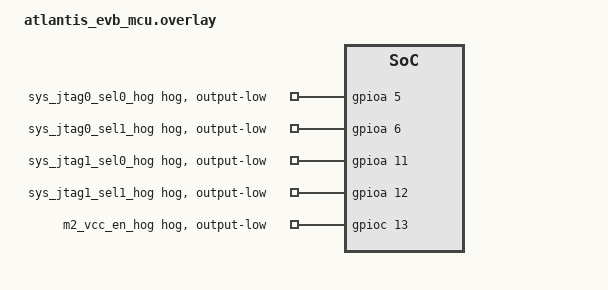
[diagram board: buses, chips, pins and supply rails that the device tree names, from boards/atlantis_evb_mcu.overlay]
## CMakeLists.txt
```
# SPDX-FileCopyrightText: © 2025-2026 Tenstorrent USA, Inc.
# SPDX-License-Identifier: Apache-2.0

list(APPEND BOARD_ROOT ${CMAKE_CURRENT_SOURCE_DIR})

cmake_minimum_required(VERSION 3.20.0)
find_package(Zephyr REQUIRED HINTS $ENV{ZEPHYR_BASE})
project(wallabmc)

# Some boards do not work with mcuboot/sysbuild - QEMU has not been ported.
# Some do not work without it - STM32 based (Nucleo, P550) have constrained
# internal flash layouts that do not fit everything when wallabmc is loaded
# at 0.
set(SYSBUILD_BOARDS "nucleo_f767zi" "nucleo_f756zg" "hifive_premier_p550_mcu" "atlantis_slt_mcu" "atlantis_evb_mcu")
set(NO_SYSBUILD_BOARDS "qemu_cortex_m3")

if(BOARD IN_LIST NO_SYSBUILD_BOARDS)
	if(SYSBUILD)
		message(FATAL_ERROR "${BOARD} must NOT be built with sysbuild (e.g., no --sysbuild argument)")
	endif()
endif()
if(BOARD IN_LIST SYSBUILD_BOARDS)
	if(NOT SYSBUILD)
		message(FATAL_ERROR "${BOARD} must be built with sysbuild (e.g., --sysbuild argument)")
	endif()
endif()


zephyr_linker_sources(SECTIONS sections-rom.ld)
zephyr_linker_section_ifdef(CONFIG_HTTP_SERVER
  NAME http_resource_desc_web_https_service
  KVMA RAM_REGION GROUP RODATA_REGION
)
zephyr_linker_section_ifdef(CONFIG_HTTP_SERVER
  NAME http_resource_desc_web_http_service
  KVMA RAM_REGION GROUP RODATA_REGION
)

# Used for webserver resources
set(gen_dir ${ZEPHYR_BINARY_DIR}/include/generated/)

# Generate git SHA header at build time so it stays current across commits
find_program(BASH_EXECUTABLE bash)
set(git_sha_header ${gen_dir}/git_sha.h)
add_custom_target(app_git_sha ALL
	COMMAND ${CMAKE_COMMAND}
		-DBASH_EXECUTABLE=${BASH_EXECUTABLE}
		-DSOURCE_DIR=${CMAKE_CURRENT_SOURCE_DIR}
		-DOUTPUT_FILE=${git_sha_header}
		-P ${CMAKE_CURRENT_SOURCE_DIR}/cmake/gen_git_sha.cmake
	BYPRODUCTS ${git_sha_header}
	COMMENT "Generating git SHA header"
)
add_dependencies(app app_git_sha)

target_sources(app PRIVATE
	src/config.c
	src/dhcp.c
	src/main.c
	src/net.c
	src/power.c
	src/synch.c
	src/vpd.c
	src/time.c
)

target_sources_ifdef(CONFIG_RTC app PRIVATE
	src/rtc.c
)

target_sources_ifdef(CONFIG_APP_SENSORS app PRIVATE
	src/sensors.c
)

target_sources_ifdef(CONFIG_APP_BLOCKING_WORKQUEUE app PRIVATE
	src/workq.c
)

target_sources_ifdef(CONFIG_APP_NTP app PRIVATE
	src/ntp.c
)

target_sources_ifdef(CONFIG_APP_WIFI app PRIVATE
	src/wifi.c
)

target_sources_ifdef(CONFIG_HTTP_SERVER app PRIVATE
	src/http.c
)

target_sources_ifdef(CONFIG_APP_HTTPS_PUBLIC_KEY app PRIVATE
	src/https_cert.c
)

target_sources_ifdef(CONFIG_MBEDTLS app PRIVATE
	src/crypto_threading.c
)

target_sources_ifdef(CONFIG_APP_WEB app PRIVATE
	src/web.c
)

target_sources_ifdef(CONFIG_JTAG app PRIVATE
	src/jtag.c
)

target_sources_ifdef(CONFIG_APP_CONSOLE_LOGGER app PRIVATE
	src/console_logger.c
)

target_sources_ifdef(CONFIG_CONSOLE_BRIDGE app PRIVATE
	src/console_bridge.c
)

target_sources_ifdef(CONFIG_APP_WEB_TERMINAL_HOST_SERIAL app PRIVATE
	src/console_bridge_ws.c
)

target_sources_ifdef(CONFIG_PERSISTENT_STORAGE app PRIVATE
	src/button.c
	src/fs.c
)

target_sources_ifdef(CONFIG_REDFISH app PRIVATE
	src/redfish.c
)

if(CONFIG_REDFISH)
  foreach(redfish_resource
    redfish_metadata.xml
  )
    generate_inc_file_for_target(app
      static_web_resources/${redfish_resource}
      ${gen_dir}/${redfish_resource}.gz.inc
      --gzip
    )
  endforeach()
endif()

if(CONFIG_APP_WEB)
  foreach(web_resource
    index.html
  )
    generate_inc_file_for_target(app
      static_web_resources/${web_resource}
      ${gen_dir}/${web_resource}.gz.inc
      --gzip
    )
  endforeach()

  foreach(web_resource
    logo.png
    favicon.png
  )
    generate_inc_file_for_target(app
      static_web_resources/${web_resource}
      ${gen_dir}/${web_resource}.inc
    )
  endforeach()
endif()

if(CONFIG_TF_PSA_CRYPTO_USER_CONFIG)
  # The Mbed TLS libraries link zephyr_interface, so this puts
  # CONFIG_TF_PSA_CRYPTO_USER_CONFIG_FILE and threading_alt.h on their
  # include path
  zephyr_include_directories(src/crypto)
endif()

if(CONFIG_PERSISTENT_STORAGE)
  if(CONFIG_CODE_DATA_RELOCATION_SRAM AND CONFIG_SOC_FLASH_STM32)
    include(${ZEPHYR_BASE}/cmake/modules/extensions.cmake)
    FILE(GLOB flash_driver ${ZEPHYR_BASE}/drivers/flash/flash_stm32*.c)
    zephyr_code_relocate(FILES ${flash_driver} LOCATION RAM)
  elseif(CONFIG_SOC_FLASH_ESP32)
    # ESP32 flash driver disables the XIP cache internally; no relocation needed.
  else()
    message(FATAL_ERROR "flash storage handling is not defined for this platform")
  endif()
endif()
```

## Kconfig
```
# SPDX-FileCopyrightText: © 2025-2026 Tenstorrent USA, Inc.
# SPDX-License-Identifier: Apache-2.0

mainmenu "WallaBMC"

# This UUID should not be changed, it is a namespace from which
# to generate other UUIDs for WallaBMC.
config WALLABMC_UUID_NS
	string
	default "6ae4c3c7-fff0-472a-a77c-6f3f5a09ee7c"

config APP_DNS_RESOLVE
	bool
	select REQUIRES_FULL_LIBC
	select NET_SOCKETS_SERVICE
	select DNS_RESOLVER
	select NET_DHCPV4_OPTION_DNS_ADDRESS
	# If DHCP is not enabled, then need these. For now, DNS/NTP
	# requires DHCP. Could make DNS configurable.
	select DNS_SERVER_IP_ADDRESSES
	select DNS_RECONFIGURE_CLEANUP

config DNS_SERVER1
	string
	default "1.1.1.1" if APP_DNS_RESOLVE

config APP_BLOCKING_WORKQUEUE
	bool
	help
	  Workqueue for blocking, low priority work (see src/workq.h). Work
	  that may block for a long time, such as DNS lookups and network
	  requests, runs here rather than on the system workqueue. Selected
	  by its users.

if APP_BLOCKING_WORKQUEUE

config APP_BLOCKING_WORKQUEUE_STACK_SIZE
	int "Blocking workqueue stack size"
	default 2560 if WIFI
	default 2048
	help
	  Without a TX traffic-class thread (NET_TC_TX_COUNT=0) the whole
	  transmit path down into the Ethernet or Wi-Fi driver runs on this
	  stack, so size it for the deepest network send a work item makes.
	  The NTP sync's DNS lookup on STM32 Ethernet measures about 1.2 KB
	  at -Os and 1.4 KB at -O2 (-fstack-usage). The ESP32 Wi-Fi driver
	  sends through a closed blob below what -fstack-usage can see (the
	  Zephyr side alone is 1.6 to 1.8 KB) and the XIAO build has no
	  stack guard, so Wi-Fi builds get 2560 B.

endif

config APP_SUPPORTS_MCUBOOT_UPDATE
	bool "Board supports mcuboot and DFU updates"
	help
	  Board .conf files can select this if they support mcuboot and
	  OTA wallabmc firmware updates (DFU).

config APP_MCUBOOT_UPDATE
	bool "Support mcuboot flash updates"
	default y
	depends on BOOTLOADER_MCUBOOT
	depends on APP_SUPPORTS_MCUBOOT_UPDATE
	depends on !MCUBOOT_BOOTLOADER_MODE_SINGLE_APP
	depends on REDFISH
	select APP_HTTP_BULK_UPLOAD
	select FLASH
	select IMG_MANAGER
	select FLASH_MAP
	select STREAM_FLASH
	select STREAM_FLASH_ERASE
	select IMG_ERASE_PROGRESSIVELY

config APP_NTP
	bool "NTP time synchronisation"
	select SNTP
	select APP_DNS_RESOLVE
	select APP_BLOCKING_WORKQUEUE
	# Could these options reduce our code?
	#CONFIG_NET_CONFIG_CLOCK_SNTP_INIT=y
	#CONFIG_NET_CONFIG_CLOCK_SNTP_SET_RTC=y
	default y

config MAIN_STACK_SIZE
	int
	default 4096 if PERSISTENT_STORAGE

config APP_CRYPTO
	bool
	select NET_SOCKETS_SOCKOPT_TLS
	select MBEDTLS
	select MBEDTLS_ENABLE_HEAP
	select MBEDTLS_SSL_PROTO_TLS1_2
	select MBEDTLS_SSL_ALPN
	# Curve-specific P-256 reduction, much faster TLS handshakes.
	select MBEDTLS_ECP_NIST_OPTIM if PSA_WANT_KEY_TYPE_ECC_KEY_PAIR_BASIC
	# XXX: Should HAVE_TIME_DATE be enabled? Test if it prevents HTTPS
	# connections if the RTC is wrong, in which case it might not be
	# feasible if we need webui to set time.
	# select MBEDTLS_HAVE_TIME_DATE if RTC

config APP_CRYPTO_TLS13
	bool
	default y
	depends on APP_CRYPTO && !APP_CRYPTO_PSK
	select MBEDTLS_SSL_PROTO_TLS1_3
	select MBEDTLS_SSL_TLS1_3_KEY_EXCHANGE_MODE_EPHEMERAL_ENABLED
	select PSA_WANT_ALG_HKDF

config APP_CRYPTO_PUBLIC_KEY
	bool
	# Basic ciphers
	select MBEDTLS_CIPHERSUITE_TLS_ECDHE_ECDSA_WITH_AES_128_GCM_SHA256
	select PSA_WANT_ALG_SHA_256
	# X25519 key exchange alongside P-256 (the certificate stays P-256).
	# Clients such as OpenSSL send only an X25519 key share by default,
	# so without it every TLS 1.3 handshake needs a HelloRetryRequest.
	select PSA_WANT_ECC_MONTGOMERY_255
	# Plus SHA384
	select PSA_WANT_ALG_SHA_384
	# Plus CHACHA20
	select PSA_WANT_ALG_CHACHA20_POLY1305
	select PSA_WANT_KEY_TYPE_CHACHA20

# TF-PSA-Crypto options that Zephyr has no Kconfig for: mbedTLS thread
# safety (see src/crypto_threading.c), needed whenever mbedTLS is used,
# and the optimised routine for X25519 shared secrets, which Zephyr 4.5
# builds and links but has no option to turn on. The header is in
# src/crypto, added to the include path in CMakeLists.txt.
config TF_PSA_CRYPTO_USER_CONFIG_FILE
	default "tf-psa-crypto-user-config.h" if MBEDTLS

# PSK can only use TLS1.2 (supporting 1.3 seems to require pulling in
# so much that it is not worthwhile).
config APP_CRYPTO_PSK
	bool
	select MBEDTLS_KEY_EXCHANGE_PSK_ENABLED # TLS1.2
	select MBEDTLS_CIPHERSUITE_TLS_PSK_WITH_AES_128_GCM_SHA256

config APP_CRYPTO_DEBUG
	bool "crypto debug"
	default n
	select MBEDTLS_DEBUG
	select MBEDTLS_MEMORY_DEBUG

config MBEDTLS_DEBUG_LEVEL
	int
	depends on APP_CRYPTO_DEBUG
	default 1

# Every HTTPS connection parses its own copy of an installed certificate
# chain. With 3 connections at once, the most the BMC served in testing, the
# heap peaks at about 45 KiB with the largest chain that can be installed,
# against 34 KiB with a self-signed certificate. Installing a certificate,
# issuing one and making a CSR also take temporary buffers from it, of up
# to about 4.3 KiB, see src/https_cert.c.
config MBEDTLS_HEAP_SIZE
	int
	depends on APP_CRYPTO
	default 61440 if APP_HTTP_BULK_UPLOAD
	default 57344 if APP_HTTPS_PUBLIC_KEY
	default 49152

config NET_PKT_RX_COUNT
	int
	depends on APP_CRYPTO
	default 32

config NET_PKT_TX_COUNT
	int
	depends on APP_CRYPTO
	default 32

config NET_BUF_RX_COUNT
	int
	default 96 if APP_CRYPTO
	default 64

config NET_BUF_TX_COUNT
	int
	default 96 if APP_CRYPTO
	default 64

config NET_SOCKETS_TLS_MAX_CONTEXTS
	int
	depends on APP_CRYPTO
	default 6

config APP_HTTP_BULK_UPLOAD
	bool "Support large uploads (e.g., firmware) via HTTP/HTTPS"
	depends on APP_HTTP || APP_HTTPS

# The Kconfig comments for this option say TLS standards require
# 16k size, but this requires several 16K allocations each for
# send and recv on the heap so it's too large. Apparently browsers
# negotiate smaller sizes, so 1500 should be okay there. Redfish
# and curl with auth headers seem to require more (4096 works).
# may require more?
config MBEDTLS_SSL_IN_CONTENT_LEN
	int
	depends on APP_CRYPTO
	default 16384 if APP_HTTP_BULK_UPLOAD
	default 4096

config MBEDTLS_SSL_OUT_CONTENT_LEN
	int
	depends on APP_CRYPTO
	default 4096

config APP_HTTP
	bool "Serve web and redfish over plain HTTP" if APP_HTTPS
	default !APP_HTTPS
	depends on REDFISH || APP_WEB
	help
	  Serve the web UI, Redfish and websocket consoles over plain HTTP
	  on port 80. Credentials (HTTP Basic auth, websocket auth) are sent
	  in the clear over this port.

	  If disabled, port 80 still accepts connections but redirects
	  requests for the web UI and Redfish to the same URL over HTTPS.
	  Websocket consoles aren't available over plain HTTP.

	  Can only be disabled if APP_HTTPS is enabled. Defaults to disabled
	  if APP_HTTPS is enabled, otherwise it's always enabled.

# Room for the captured Authorization, X-Auth-Code, Host headers at
# HTTP_SERVER_MAX_HEADER_LEN. Bulk uploads also have a content-length.
config HTTP_SERVER_CAPTURE_HEADER_BUFFER_SIZE
	int
	default 256 if APP_HTTP_BULK_UPLOAD
	default 192

config HTTP_SERVER_CAPTURE_HEADER_COUNT
	int
	default 4 if APP_HTTP_BULK_UPLOAD
	default 3

# Multiple streams can concurrently access a resource which requires
# special handling we don't do.
config HTTP_SERVER_MAX_STREAMS
	int
	default 1

# Room for the redirect to HTTPS over HTTP/2, with the longest Location.
# Checked by a BUILD_ASSERT in http.c.
config HTTP_SERVER_HTTP2_MAX_HEADER_FRAME_LEN
	int
	default 352 if !APP_HTTP

config APP_HTTPS
	bool "HTTPS support for web and redfish"
	default y
	depends on REDFISH || APP_WEB
	select HTTP_SERVER_TLS_USE_ALPN
	select APP_CRYPTO

config APP_HTTPS_PUBLIC_KEY
	bool "HTTPS public key support"
	default y
	depends on APP_HTTPS
	select APP_CRYPTO_PUBLIC_KEY
	# The key and self-signed certificate are generated on the board
	select MBEDTLS_PK_PARSE_C
	select MBEDTLS_PK_WRITE_C
	select MBEDTLS_X509_CRT_PARSE_C
	select MBEDTLS_X509_CRT_WRITE_C
	# Zephyr only defines MBEDTLS_X509_CREATE_C, which the certificate
	# writer needs, along with the CSR writer. Unused code is discarded
	# at link time.
	select MBEDTLS_X509_CSR_WRITE_C
	# Subject key identifier
	select PSA_WANT_ALG_SHA_1
	# The BMC UUID is in the self-signed certificate's subject, so it must
	# be unique to the board, not the fixed fallback UUID
	select APP_BMC_UUID
	# Installed certificate chains are registered as PEM
	select MBEDTLS_PEM_PARSE_C
	# CAs often have P-384 keys, eg. Let's Encrypt's ECDSA intermediates,
	# so allow them in an installed chain. The BMC's own key is still
	# P-256, which is faster, see docs/https-certificates.md.
	select PSA_WANT_ECC_SECP_R1_384

config APP_HTTPS_PSK
	bool "HTTPS PSK support"
	default n
	depends on APP_HTTPS
	select APP_CRYPTO_PSK

config APP_BMC_UUID
	bool "BMC UUID based on HWINFO device ID"
	select MBEDTLS
	select MBEDTLS_PSA_CRYPTO_C
	select PSA_WANT_ALG_SHA_1
	select UUID
	select UUID_V5
	select HWINFO

config APP_SENSORS
	bool "BMC Sensors (temperature)"
	select SENSOR
	select ADC

config REDFISH
	bool "Redfish server"
	default y
	select HTTP_SERVER
	select HTTP_SERVER_CAPTURE_HEADERS
	select JSON_LIBRARY
	select APP_BMC_UUID
	select BASE64

if REDFISH

config REDFISH_SYSTEM_PRODUCT_NAME
	string "Redfish system product / board display name"
	default "WallaBMC Board"
	help
	  Shown as System Name in Redfish and in the dashboard System Overview.

config REDFISH_SYSTEM_MANUFACTURER
	string "Redfish system manufacturer"
	default "WallaBMC"

config REDFISH_SYSTEM_MODEL
	string "Redfish system model"
	default "Generic"

config REDFISH_SYSTEM_PROCESSOR_MODEL
	string "Redfish processor summary model"
	default "N/A"

config REDFISH_SYSTEM_PROCESSOR_COUNT
	int "Redfish processor summary count"
	default 1

config REDFISH_SYSTEM_MEMORY_GIB
	int "Redfish memory summary total (GiB)"
	default 0
	help
	  Total system memory in GiB for Redfish MemorySummary. 0 shows as N/A.

config HTTP_SERVER_MAX_HEADER_LEN
	int
	default 48 # Basic auth header + 15 character password is 34 characters

endif # REDFISH

config HTTP_SERVER_NUM_SERVICES
	int
	default 2 if APP_HTTPS # default 1 (listen on just 80)

config HTTP_SERVER_MAX_CLIENTS
	int
	default 8 if APP_WEB

# The web UI polls Redfish every 10 s. With the 10 s Zephyr default the
# server drops the idle connection just before each poll, so every poll
# needs a new connection and TLS handshake.
config HTTP_SERVER_CLIENT_INACTIVITY_TIMEOUT
	int
	default 30 if APP_WEB

config APP_WEB
	bool "Web server"
	default y
	select HTTP_SERVER
	select REDFISH

config APP_WEB_TERMINAL
	bool "Websocket consoles and webui terminal emulator"
	default y
	select APP_WEB
	select HTTP_SERVER_WEBSOCKET

config APP_WEB_TERMINAL_BMC_SHELL
	bool "Zephyr shell websocket and webui terminal"
	default y
	depends on APP_WEB_TERMINAL
	select SHELL
	select SHELL_BACKEND_WEBSOCKET
	select LOG_BACKEND_WS
	select LOG_BACKEND_WS_AUTOSTART

config APP_WEB_TERMINAL_HOST_SERIAL
	bool "Host serial websocket and webui terminal"
	default y
	select APP_CONSOLE_LOGGER
	depends on APP_WEB_TERMINAL

if APP_WEB_TERMINAL_HOST_SERIAL
config CONSOLE_BRIDGE_WS_STACK_SIZE
	int
	default 4096 if APP_HTTPS
	default 2048

config CONSOLE_BRIDGE_WS_PRIORITY
	int
	default 5
endif

config SHELL_WEBSOCKET_ENDPOINT_URL
	string
	depends on SHELL_BACKEND_WEBSOCKET
	default "console/bmc"

config DEFAULT_ADMIN_PASSWORD
	string "Default admin password"
	default "$(shell,openssl rand -base64 12 | head -c 15)"

config SYSTEM_WORKQUEUE_STACK_SIZE
	int
	depends on HTTP_SERVER_WEBSOCKET
	default 2560 if APP_HTTPS
	default 1536

# WS log backend uses lot of stack
config LOG_PROCESS_THREAD_STACK_SIZE
	int
	depends on LOG_BACKEND_WS
	default 2560

# > eth_stm32_hal: Failed to obtain RX buffer
# > esp32_wifi: Failed to allocate net buffer
#
# These messages can appear when sending bulk data to wallabmc if the TCP
# window is too large (> 8192). It is possible other configuration parameters
# should be used to avoid the problem, but we limit it here. The XIAO wifi
# board can't even use 8192 and overrides that in its .conf
config NET_TCP_MAX_RECV_WINDOW_SIZE
	int
	default 8192

# Increase retry and timeout limits
config NET_TCP_INIT_RETRANSMISSION_TIMEOUT
	int
	default 500

config NET_TCP_RETRY_COUNT
	int
	default 10

# Reissuing the HTTPS certificate from the shell (eg. "config bmc hostname")
# signs it on the shell thread, which needs about 1.3 KiB more.
config SHELL_STACK_SIZE
	int
	default 3584 if APP_HTTPS_PUBLIC_KEY
	default 3072 if SHELL_BACKEND_WEBSOCKET

config HTTP_SERVER_STACK_SIZE
	int
	depends on LOG_BACKEND_WS
	default 4096

config NET_SOCKETS_SERVICE_STACK_SIZE
	int
	default 3072 if APP_CRYPTO
	default 1536

config NET_MAX_CONTEXTS
	int
	depends on HTTP_SERVER
	default 12

config NET_MAX_CONN
	int
	depends on HTTP_SERVER
	default 16

config ZVFS_EVENTFD_MAX
	int
	depends on HTTP_SERVER
	default 4

config ZVFS_POLL_MAX
	int
	depends on HTTP_SERVER
	default 8

config PERSISTENT_STORAGE
	bool "Persistent storage for config"
	default n
	# Enable Flash and Flash Map to access memory
	select FLASH
	select FLASH_MAP
	# select FLASH_SHELL if SHELL # ~4kB flash
	# STM32 internal flash is also XIP, so the flash driver has to be
	# relocated into RAM to write it. ESP32's flash driver disables
	# the XIP cache internally, so no relocation is needed there.
	select CODE_DATA_RELOCATION_SRAM if SOC_FLASH_STM32
	# XXX: May need to enable these, or disable IRQs in the flash
	# erase and program functions while flash is being written.
	# select SRAM_VECTOR_TABLE
	# select SRAM_SW_ISR_TABLE
	# select DEVICE_MUTABLE
	# Enable NVS key-value system
	select NVS
	select NVS_INIT_BAD_MEMORY_REGION # Do not require erased flash

config REBOOT
	bool
	default y

config POWEROFF
	bool
	default y if HAS_POWEROFF

config APP_HOST_POWER_PULSE
	bool "Host power pin uses momentary-button (pulse) semantics"
	default n
	help
	  When set, `power on` / `power off` send a short press on the
	  host power GPIO instead of holding it at a sustained level,
	  and `power force-off` / Redfish ForceOff hold it for a long
	  press. Use for boards with an ATX-style momentary power
	  button input.

	  A momentary button gives the BMC no feedback. Without a
	  host-power-good input the BMC cannot tell whether the host is
	  on: `power on` / `power off` / Redfish On always press (a
	  short press toggles, so On sent to a running host asks it to
	  shut down), force-off and PowerCycle always hold the long
	  press first, and host auto power-on is ignored at BMC boot
	  because the press could shut down a host that is already
	  running. Redfish then reports PowerState as null (the web UI
	  shows Unknown) and `power state` reports unknown.

	  To fix that, wire the host's power-good (PWROK) output to a
	  GPIO and point the host-power-good devicetree alias at it.
	  The BMC then reports what the input reads, skips an on, off
	  or force-off press when the host already reads that state,
	  refuses a reset when the host reads off, and presses at BMC
	  boot for host auto power-on only when the host reads off.

	  Without this, a power-gpio-N alias is a build error: describe
	  level-driven rails as wallabmc,power-rail nodes instead. The
	  host is then off at BMC boot and reset-gpio-1 is held until
	  power on; with this, the reset line is left released at boot.

config APP_HOST_POWER_PULSE_MS
	int "Short-press duration for power on/off (ms)"
	default 200
	depends on APP_HOST_POWER_PULSE

config APP_HOST_POWER_FORCE_OFF_MS
	int "Long-press duration for power force-off (ms)"
	default 6000
	depends on APP_HOST_POWER_PULSE
	help
	  The thread that asked for the force-off sleeps through the
	  press; for Redfish that is the HTTP server thread. Keep this
	  plus the 2 s PowerCycle gap below
	  HTTP_SERVER_CLIENT_INACTIVITY_TIMEOUT (30 s with APP_WEB,
	  otherwise 10 s) or other HTTP clients are dropped while the
	  button is held.

config APP_WIFI
	bool "Connect to Wi-Fi at boot from BMC config"
	select WIFI
	select NET_L2_WIFI_MGMT
	help
	  Enable Wi-Fi support. Default SSID and password can be set by
	  updating config or passing cmdline build options (see README.md).
	  SSID and password can be changed and persisted in nonvolatile
	  configuration.

config APP_WIFI_DISABLE_POWER_SAVING
	bool "Wi-Fi disable power saving"
	depends on APP_WIFI
	help
	  Disable WIFI Power Saving, can be set by board config.

config DEFAULT_WIFI_SSID
	string "Default WiFi SSID (blank for none)"
	depends on APP_WIFI
	default ""

config DEFAULT_WIFI_PASSWORD
	string "Default WiFi password (blank for none)"
	depends on APP_WIFI
	default ""

config JTAG
	bool "JTAG support"
	depends on $(dt_path_enabled,/jtag)
	default y

if JTAG

config JTAG_DAEMON_STACK_SIZE
	int "JTAG daemon stack size"
	default 1024

config JTAG_DAEMON_PRIORITY
	int "JTAG daemon priority"
	default 5

endif

# use `kernel thread stack` shell command
config APP_STACK_DEBUG
	bool
	default n
	select THREAD_NAME
	select THREAD_ANALYZER
	select THREAD_ANALYZER_RUN_UNLOCKED

config APP_CONSOLE_LOGGER
	bool "Console logger (capture host console uart)"
	default y
	select SERIAL
	select UART_INTERRUPT_DRIVEN

if APP_CONSOLE_LOGGER
config APP_CONSOLE_LOG_SIZE
	int "Console log size"
	range 64 65536
	default 2048
endif

config CONSOLE_BRIDGE
	bool "Console bridge (host console to TCP port 22)"
	default y
	depends on APP_CONSOLE_LOGGER

if CONSOLE_BRIDGE

config CONSOLE_BRIDGE_STACK_SIZE
	int "Console bridge daemon stack size"
	default 1024

config CONSOLE_BRIDGE_PRIORITY
	int "Console bridge daemon priority"
	default 5

endif

# Quieten the Ethernet PHY drivers, phy_mii logs every link change at
# INF. The choice only exists on boards that enable ETH_DRIVER, so
# default it here rather than assign it in prj.conf.
if ETH_PHY_DRIVER

choice PHY_LOG_LEVEL_CHOICE
	default PHY_LOG_LEVEL_WRN
endchoice

endif # ETH_PHY_DRIVER

# Default CPU caches to on. Can be dropped when
# https://github.com/zephyrproject-rtos/zephyr/pull/126514 lands.
configdefault CACHE_MANAGEMENT
	default y if SOC_SERIES_STM32F7X

source "Kconfig.zephyr"
```

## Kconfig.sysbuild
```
# SPDX-FileCopyrightText: © 2026 Tenstorrent USA, Inc.
# SPDX-License-Identifier: Apache-2.0

# Defaults here come before Zephyr's sysbuild Kconfig, so they take
# precedence over its defaults.

# MCUboot checks an elliptic curve signature on the application.
# BOOT_SIGNATURE_TYPE_ED25519 is supported as well. It is quicker to check,
# but makes MCUboot too big for a 32 KiB boot partition.
# P550 has tiny amount of flash/sram, can't fit boot signatures, it does
# not support OTA updates so signatures are less critical.
choice BOOT_SIGNATURE_TYPE
	default BOOT_SIGNATURE_TYPE_NONE if BOARD_HIFIVE_PREMIER_P550_MCU
	default BOOT_SIGNATURE_TYPE_ECDSA_P256
endchoice

# Zephyr defaults to the well-known debug keys in the MCUboot repository.
# Default to a file in the build directory instead, which sysbuild.cmake
# generates if it doesn't exist. Set this to the path of your own key to
# sign with that.
config BOOT_SIGNATURE_KEY_FILE
	default "$(KCONFIG_BINARY_DIR)/mcuboot-generated-ecdsa-p256.pem" if BOOT_SIGNATURE_TYPE_ECDSA_P256
	default "$(KCONFIG_BINARY_DIR)/mcuboot-generated-ed25519.pem" if BOOT_SIGNATURE_TYPE_ED25519

config APP_USE_MCUBOOT
	bool
	default y if BOARD_XIAO_ESP32C6_ESP32C6_HPCORE

# In theory using SWAP_SCRATCH mode should allow a confirm step that
# auto downgrades the update if it does not reach confirm. I have not
# been able to make this work yet on Nucleo. The swap works, it just
# seems to be permanent always.
choice MCUBOOT_MODE
	default MCUBOOT_MODE_OVERWRITE_ONLY if APP_USE_MCUBOOT
	default MCUBOOT_MODE_SINGLE_APP
endchoice

source "$(ZEPHYR_BASE)/share/sysbuild/Kconfig"
```

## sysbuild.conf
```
SB_CONFIG_BOOTLOADER_MCUBOOT=y
SB_CONFIG_MCUBOOT_MODE_SINGLE_APP=y
# Disable signing with hardcoded key from MCUboot repository
SB_CONFIG_BOOT_SIGNATURE_TYPE_NONE=y
```

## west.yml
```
manifest:
  remotes:
    - name: zephyr
      url-base: https://github.com/zephyrproject-rtos

  projects:
    - name: zephyr
      remote: zephyr
      revision: v4.5.0
      import: true

  self:
    path: wallabmc
```

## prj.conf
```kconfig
# HTTP2 has a problem with safari/curl and index.html.gz > 16KB
# Disable it for now. Options could be to minify the html, split
# html/css/js, or serve via a dynamic resource, or fix zephyr
# issue. For now, disable it.
CONFIG_HTTP_SERVER_VERSION_2=n

# Respect flash partition layout
CONFIG_USE_DT_CODE_PARTITION=y

# Kernel options
CONFIG_BOOT_BANNER=n # Do our own banner
CONFIG_EARLY_CONSOLE=y
CONFIG_INIT_STACKS=y

CONFIG_POSIX_API=y

# Net debug
#CONFIG_NET_SOCKETS_LOG_LEVEL_DBG=y
#CONFIG_SNTP_LOG_LEVEL_DBG=y
#CONFIG_NET_LOG=y

CONFIG_RTC=y

# Logging
CONFIG_LOG=y
#CONFIG_LOG_DEFAULT_LEVEL=0
CONFIG_LOG_PRINTK=n
# CONFIG_NET_LOG=y # ~10kB flash

# Generic networking options
CONFIG_NETWORKING=y
CONFIG_NET_IPV4=y
CONFIG_NET_IPV6=n
CONFIG_NET_ARP=y
CONFIG_NET_UDP=y
CONFIG_NET_TCP=y

# IP address options
# 2 addresses so we can have a DHCP and an overridable static */
CONFIG_NET_CONFIG_AUTO_INIT=n
CONFIG_NET_IF_UNICAST_IPV4_ADDR_COUNT=2
CONFIG_NET_DHCPV4=y
CONFIG_NET_DHCPV4_OPTION_CALLBACKS=y
#CONFIG_DNS_RESOLVER=y # This makes telnet console hang?
# Hostname will be registered with DHCP so if the network supports it,
# it will be the DNS name too. UNIQUE=y appends a random UUID to the
# end of HOSTNAME, you will need to watch the console to get this, or
# give yourself a unique hostname.
CONFIG_NET_CONFIG_SETTINGS=y
CONFIG_NET_HOSTNAME_ENABLE=y
CONFIG_NET_HOSTNAME="wallabmc"
# The hostname can be changed at runtime from the BMC config
CONFIG_NET_HOSTNAME_DYNAMIC=y
# Don't want to append a unique string because that makes it hard to
# find.
#CONFIG_NET_HOSTNAME_UNIQUE=y
# default / no-DHCP IP address
#CONFIG_NET_CONFIG_MY_IPV4_ADDR="192.168.2.55"

# `date set` does not set the RTC which would be confusing, so
# disable it. We supply `bmc time` commands.
CONFIG_DATE_SHELL=n
# local/network shell
CONFIG_KERNEL_SHELL=n # ~5kB flash
#CONFIG_SHELL_TAB=y
#CONFIG_NET_SHELL=y # ~40kB flash

# GPIO options
CONFIG_GPIO=y

### Storage ###
CONFIG_PERSISTENT_STORAGE=y

# Websocket default prompt (does not enable anything on it's own)
CONFIG_SHELL_WEBSOCKET_PROMPT="bmc:~$ "
```

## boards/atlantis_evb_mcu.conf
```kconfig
# Gentoo mode
CONFIG_SPEED_OPTIMIZATIONS=y

CONFIG_APP_SENSORS=y

# Redfish system overview (board-specific)
CONFIG_REDFISH_SYSTEM_PRODUCT_NAME="Atlantis EVB"
CONFIG_REDFISH_SYSTEM_MANUFACTURER="Tenstorrent"
CONFIG_REDFISH_SYSTEM_MODEL="Atlantis EVB"
CONFIG_REDFISH_SYSTEM_PROCESSOR_MODEL="Tenstorrent Atlantis"
```

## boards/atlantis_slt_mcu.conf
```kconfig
# Gentoo mode
CONFIG_SPEED_OPTIMIZATIONS=y

CONFIG_APP_SENSORS=y

# Redfish system overview (board-specific)
CONFIG_REDFISH_SYSTEM_PRODUCT_NAME="Atlantis SLT"
CONFIG_REDFISH_SYSTEM_MANUFACTURER="Tenstorrent"
CONFIG_REDFISH_SYSTEM_MODEL="Atlantis SLT"
CONFIG_REDFISH_SYSTEM_PROCESSOR_MODEL="Tenstorrent Atlantis"
```

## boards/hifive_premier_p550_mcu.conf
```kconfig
CONFIG_APP_HTTPS=n

# RAM is over 90% used here. The NTP DNS send on STM32 Ethernet at -Os
# is about 1.2 KB static by -fstack-usage (1.45 KB if the Ethernet
# driver's error path logs) plus 56 B of TLS and a 32 B exception
# frame, so the paper worst case is tight; the high-water mark on
# hardware is 1184 B. The same work ran in the 1536 B MPU guarded
# system workqueue before it moved.
CONFIG_APP_BLOCKING_WORKQUEUE_STACK_SIZE=1536

# Redfish system overview (board-specific)
CONFIG_REDFISH_SYSTEM_PRODUCT_NAME="HiFive Premier P550"
CONFIG_REDFISH_SYSTEM_MANUFACTURER="SiFive"
CONFIG_REDFISH_SYSTEM_MODEL="HiFive Premier P550"
CONFIG_REDFISH_SYSTEM_PROCESSOR_MODEL="SiFive P550"
CONFIG_REDFISH_SYSTEM_PROCESSOR_COUNT=8
CONFIG_REDFISH_SYSTEM_MEMORY_GIB=16
```

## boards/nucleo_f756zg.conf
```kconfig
# Gentoo mode
CONFIG_SPEED_OPTIMIZATIONS=y

CONFIG_APP_SENSORS=y

CONFIG_APP_SUPPORTS_MCUBOOT_UPDATE=y
```

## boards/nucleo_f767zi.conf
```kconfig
# Gentoo mode
CONFIG_SPEED_OPTIMIZATIONS=y

CONFIG_APP_SENSORS=y

# The STM32F7 have I and D caches
CONFIG_CACHE_MANAGEMENT=y

CONFIG_APP_SUPPORTS_MCUBOOT_UPDATE=y
```

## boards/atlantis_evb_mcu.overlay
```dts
// Tenstorrent Atlantis EVB MCU

#include "tenstorrent/common/atlantis_wallabmc.dtsi"

/*
 * Host power rails (doc/hardware.rst, "SoC rails controlled by the
 * MCU"): the ATX supply, then the SLT order, the M.2 slot and the
 * handshakes. The SoC requires only the order of the rails on the way
 * up; power off is the reverse.
 */
/ {
	power-rails {
		/*
		 * ATX T1 + T3: up to 1 s from PS_ON to PWR_OK. On power off the
		 * PSU stays on while the LPDDR5 PMIC shuts down.
		 */
		atx: atx {
			compatible = "wallabmc,power-rail";
			enable = <&atx_pson>;
			power-good = <&atx_pwr_ok>;
			power-good-timeout-ms = <2000>;
			off-delay-ms = <100>;
		};
		/* TPS25200 turn-on plus the PCIe T_PVPERL before reset release */
		m2: m2 {
			compatible = "wallabmc,power-rail";
			enable = <&m2_vcc_en>;
			settle-ms = <120>;
		};
	};

	power_sequencer: power-sequencer {
		compatible = "wallabmc,power-sequencer";
		power-on-sequence = <&atx &vcore_0v8 &mpm54304 &ddr_vdd &ddr_vdd2l
				     &ddr_vddq &pcie_vp &pcie_vph &m2
				     &pwr1_gd &pwr2_gd &otp_pwrrdy>;
	};
};

/*
 * The EVB has no DIP switches on the mux selects and the pull-ups leave
 * them at 11 (no source), so route both SoC JTAG ports to the USB bridge
 * U73 until jtag.c takes a port for the MCU. The M.2 enable has no pull
 * resistor; the hog keeps the slot off from MCUboot until the power
 * sequence reaches it.
 */
&gpioa {
	sys_jtag0_sel0_hog: sys_jtag0_sel0_hog {
		gpio-hog;
		gpios = <5 GPIO_ACTIVE_HIGH>;
		output-low;
	};
	sys_jtag0_sel1_hog: sys_jtag0_sel1_hog {
		gpio-hog;
		gpios = <6 GPIO_ACTIVE_HIGH>;
		output-low;
	};
	sys_jtag1_sel0_hog: sys_jtag1_sel0_hog {
		gpio-hog;
		gpios = <11 GPIO_ACTIVE_HIGH>;
		output-low;
	};
	sys_jtag1_sel1_hog: sys_jtag1_sel1_hog {
		gpio-hog;
		gpios = <12 GPIO_ACTIVE_HIGH>;
		output-low;
	};
};

&gpioc {
	m2_vcc_en_hog: m2_vcc_en_hog {
		gpio-hog;
		gpios = <13 GPIO_ACTIVE_HIGH>;
		output-low;
	};
};
```

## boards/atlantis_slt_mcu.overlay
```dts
// Tenstorrent Atlantis SLT MCU

#include "tenstorrent/common/atlantis_wallabmc.dtsi"

/*
 * Host power rails (doc/hardware.rst, "SoC rails controlled by the
 * MCU"). The SoC requires only the order of the rails on the way up; the
 * handshakes follow the last rail and power off is the reverse.
 */
/ {
	power-rails {
		/* P5V feeds the LPDDR5 PMIC, which needs it while shutting down */
		p5v: p5v {
			compatible = "wallabmc,power-rail";
			enable = <&power_5v_en>;
			power-good = <&pwr_good_5v>;
			off-delay-ms = <100>;
		};
	};

	power_sequencer: power-sequencer {
		compatible = "wallabmc,power-sequencer";
		power-on-sequence = <&p5v &vcore_0v8 &mpm54304 &ddr_vdd &ddr_vdd2l
				     &ddr_vddq &pcie_vp &pcie_vph
				     &pwr1_gd &pwr2_gd &otp_pwrrdy>;
	};
};
```

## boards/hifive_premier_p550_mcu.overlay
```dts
// hifive premier p550 mcu
/ {
    chosen {
        zephyr,entropy = &rng;
        zephyr,flash-controller = &flash;
        zephyr,sram = &sram0;
        zephyr,flash = &flash0;
        zephyr,code-partition = &slot0_partition;
    };

    jtag {
        // What is a better setting for this?
        compatible = "gpio-leds";

        // not connected for now
        jtagtck: jtag_tck {
            gpios = <&gpioe  0 GPIO_ACTIVE_HIGH>;
        };
        jtagtms: jtag_tms {
            gpios = <&gpioe  1 GPIO_ACTIVE_HIGH>;
        };
        jtagtdo: jtag_tdo {
            gpios = <&gpioe  2     GPIO_PULL_UP>;
        };
        jtagtdi: jtag_tdi {
            gpios = <&gpioe  4 GPIO_ACTIVE_HIGH>;
        };
    };

    aliases {
        jtagtck = &jtagtck;
        jtagtms = &jtagtms;
        jtagtdi = &jtagtdi;
        jtagtdo = &jtagtdo;

        power-led = &red_led;
        status-led = &blue_led;

	host-console-uart = &usart6;
	host-console-uart-muxsel = &uartmuxsel;
    };

    power_rails: power-rails {
        // ATX PSU main outputs; stays up 10 ms after the DC-DCs go down
        atx: atx {
            compatible = "wallabmc,power-rail";
            enable = <&atxpson>;
            off-delay-ms = <10>;
        };
        // Main DC-DC converters (5V/3.3V carrier, 5V SOM/SYS)
        dcdc: dcdc {
            compatible = "wallabmc,power-rail";
            enable = <&dcen>;
        };
    };

    power_sequencer: power-sequencer {
        compatible = "wallabmc,power-sequencer";
        power-on-sequence = <&atx &dcdc>;
    };
};

&spi4 {
     status = "disabled";
};

&rng {
    status = "okay";
};

&flash0 {
	partitions {
		compatible = "fixed-partitions";
		#address-cells = <1>;
		#size-cells = <1>;

		/* Sectors 0-1 (2*16 kbytes) for mcuboot */
                boot_partition: partition@0 {
                        label = "mcuboot";
                        reg = <0x00000000 DT_SIZE_K(32)>;
                };

		/* 2-3 (2*16 kbytes) for app storage, enough for NVS storage */
                storage_partition: partition@8000 {
                        label = "storage";
                        reg = <0x00008000 DT_SIZE_K(32)>;
                };

		/* 4-7 (64 + 3*128 kbytes) are for the application image */
                slot0_partition: partition@10000 {
                        label = "image-0";
                        reg = <0x00010000 DT_SIZE_K(448)>;
                };
	};
};
```

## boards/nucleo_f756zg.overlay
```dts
// Nucleo F756ZG

#include "nucleo_stm32f7_wallabmc.dtsi"

// The upstream board does not enable the RTC or the ADC used for the
// die temperature sensor.
&clk_lsi {
    status = "okay";
};

&rtc {
    clocks = <&rcc STM32_CLOCK(APB1, 28)>,
             <&rcc STM32_SRC_LSI RTC_SEL(2)>;
    status = "okay";
};

&adc123_common {
    status = "okay";
};

&adc1 {
    pinctrl-0 = <&adc1_in0_pa0>;
    pinctrl-names = "default";
    status = "okay";
};

/delete-node/ &boot_partition;
/delete-node/ &slot0_partition;
/delete-node/ &slot1_partition;
/delete-node/ &scratch_partition;

// 1MB of flash: sectors 0-3 are 32KB, sector 4 is 128KB, sectors 5-7
// are 256KB.
&flash0 {
    partitions {
        /* Sector 0-1 (2*32 kbytes) for mcuboot */
        boot_partition: partition@0 {
            compatible = "zephyr,mapped-partition";
            label = "mcuboot";
            reg = <0x00000000 DT_SIZE_K(64)>;
        };

        /* Sectors 2-3 (2*32 kbytes) for NVS storage */
        storage_partition: partition@10000 {
            compatible = "zephyr,mapped-partition";
            label = "storage";
            reg = <0x00010000 DT_SIZE_K(64)>;
        };

        /* Sector 4 (128 kbytes) unallocated */

        /* Sectors 5-7 (3*256 kbytes) for the application image */
        slot0_partition: partition@40000 {
            compatible = "zephyr,mapped-partition";
            label = "image-0";
            reg = <0x00040000 DT_SIZE_K(768)>;
        };
    };
};
```

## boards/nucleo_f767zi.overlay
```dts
// Nucleo F767ZI

#include "nucleo_stm32f7_wallabmc.dtsi"
```

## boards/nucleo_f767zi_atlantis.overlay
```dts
// Nucleo F767ZI limited to the Atlantis STM32F746ZG

#include "nucleo_stm32f7_wallabmc.dtsi"

/*
 * Use the Atlantis flash layout rather than the Nucleo one. Keep this the
 * same as boards/tenstorrent/common/atlantis_wallabmc.dtsi.
 *
 * The internal flash layout happens to match Nucleo at the moment, but define
 * it here so it can be easily adjusted. slot1 and scratch partitions are not
 * defined as they are for standard nucleo board since we have less flash.
 */
/delete-node/ &boot_partition;
/delete-node/ &storage_partition;
/delete-node/ &slot0_partition;

&flash0 {
    partitions {
        /* Sector 0-1 (2*32 kbytes) for mcuboot */
        boot_partition: partition@0 {
            compatible = "zephyr,mapped-partition";
            label = "mcuboot";
            reg = <0x00000000 DT_SIZE_K(64)>;
        };

        /* Sectors 2-3 (2*32 kbytes) for NVS storage */
        storage_partition: partition@10000 {
            compatible = "zephyr,mapped-partition";
            label = "storage";
            reg = <0x00010000 DT_SIZE_K(64)>;
        };

        /* Sector 4 (128 kbytes) unallocated */

        /* Sectors 5-7 (3*256 kbytes) for the application image */
        slot0_partition: partition@40000 {
            compatible = "zephyr,mapped-partition";
            label = "image-0";
            reg = <0x00040000 DT_SIZE_K(768)>;
        };
    };
};
```

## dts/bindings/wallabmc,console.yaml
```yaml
# SPDX-FileCopyrightText: © 2026 Tenstorrent USA, Inc.
# SPDX-License-Identifier: Apache-2.0

description: |
  A host serial console the BMC captures. src/console_logger.c keeps a
  ring of what the UART receives and, with CONSOLE_BRIDGE and
  APP_WEB_TERMINAL_HOST_SERIAL, serves it raw on a TCP port and on a
  websocket endpoint that the web UI shows as "<label> Console". Each
  node costs one websocket context and one socket-service poll slot
  (WEBSOCKET_MAX_CONTEXTS and ZVFS_POLL_MAX in Kconfig cover two).

  Example:

    console_host: console-host {
        compatible = "wallabmc,console";
        label = "Host";
        uart = <&usart3>;
        port = <22>;
        endpoint = "/console/host";
        mux-select = <&sys_uart_sel0>;
    };

compatible: "wallabmc,console"

include: base.yaml

properties:
  label:
    type: string
    required: true
    description: |
      Name shown in the web UI and used in log and thread names. No
      quotes or backslashes: it is printed into the /consoles JSON.

  uart:
    type: phandle
    required: true
    description: |
      The UART node. Its current-speed is the baud rate (115200 if it
      has none); the format is 8N1 without flow control.

  port:
    type: int
    required: true
    description: |
      TCP port the raw console bridge listens on. Unique per board.

  endpoint:
    type: string
    required: true
    description: |
      Websocket URL path, such as /console/host. Unique per board, and
      without quotes or backslashes like label.

  mux-select:
    type: phandle
    description: |
      Node with a gpios property that routes the UART to the MCU when
      driven active. Driven active at init and left there; consoles
      that share a mux may name the same node.
```

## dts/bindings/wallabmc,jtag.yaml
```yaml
# SPDX-FileCopyrightText: © 2026 Tenstorrent USA, Inc.
# SPDX-License-Identifier: Apache-2.0

description: |
  A JTAG chain the BMC bit-bangs for OpenOCD's remote_bitbang driver.
  src/jtag.c runs one TCP server per node. The pins float until a client
  connects, and a board mux (select) is pointed at the MCU only for the
  length of the connection.

  Example:

    jtag_ascalon: jtag-ascalon {
        compatible = "wallabmc,jtag";
        label = "Ascalon";
        port = <7777>;
        tck = <&jtag1_tck>;
        tms = <&jtag1_tms>;
        tdi = <&jtag1_tdi>;
        tdo = <&jtag1_tdo>;
        trst = <&jtag1_trst>;
        select = <&sys_jtag1_sel0 &sys_jtag1_sel1>;
        select-mcu = <1>;
        select-idle = <0>;
    };

compatible: "wallabmc,jtag"

include: base.yaml

properties:
  label:
    type: string
    description: Name used in log messages and the thread name.

  port:
    type: int
    required: true
    description: TCP port the remote_bitbang server listens on.

  tck:
    type: phandle
    required: true
    description: Node with a gpios property driving TCK.

  tms:
    type: phandle
    required: true
    description: Node with a gpios property driving TMS.

  tdi:
    type: phandle
    required: true
    description: Node with a gpios property driving TDI.

  tdo:
    type: phandle
    required: true
    description: Node with a gpios property reading TDO.

  trst:
    type: phandle
    description: |
      Node with a gpios property driving TRST, active when asserted (so
      an active-low TRST# line carries GPIO_ACTIVE_LOW). Driven by the
      remote_bitbang reset commands; without it they are ignored. SRST
      is never driven by the daemon: the host reset belongs to the
      power sequencer.

  select:
    type: phandles
    description: |
      Mux select lines, bit 0 first, that route the chain between the
      MCU and other sources. Driven to select-mcu while a client is
      connected and to select-idle, or left as inputs, otherwise.

  select-mcu:
    type: int
    description: |
      Value written to the select lines while a client is connected:
      bit i sets line i active. Required with select.

  select-idle:
    type: int
    description: |
      Value written to the select lines while no client is connected.
      Without it the lines are left as inputs so the board's pull
      resistors or switches decide.
```

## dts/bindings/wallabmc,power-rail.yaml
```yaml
# SPDX-FileCopyrightText: © 2026 Tenstorrent USA, Inc.
# SPDX-License-Identifier: Apache-2.0

description: |
  Host power rail driven by the BMC: an enable GPIO and the power-good
  inputs that confirm it. A wallabmc,power-sequencer node lists the
  rails in the order they are brought up; power off is the reverse.

  Example:

    p5v: p5v {
        compatible = "wallabmc,power-rail";
        enable = <&power_5v_en>;
        power-good = <&pwr_good_5v>;
        off-delay-ms = <100>;
    };
    vcore: vcore {
        compatible = "wallabmc,power-rail";
        enable = <&vcore_0v8_en>;
        power-good = <&pg_ph1>;
    };

compatible: "wallabmc,power-rail"

include: base.yaml

properties:
  enable:
    type: phandle
    required: true
    description: |
      Node with a gpios property (for example a gpio-leds child) whose
      GPIO is driven active to bring the rail up and inactive to take it
      down.

  power-good:
    type: phandles
    description: |
      Nodes with a gpios property that must all read inactive before
      the enable is asserted and active afterwards. They are polled
      every millisecond for up to power-good-timeout-ms; on timeout the
      power on fails and the rails are taken down again.

  power-good-timeout-ms:
    type: int
    default: 1000
    description: Time allowed for the power-good inputs to change level.

  settle-ms:
    type: int
    default: 0
    description: |
      Delay after the rail is up (power-good inputs active, or the
      enable asserted when there are none) before the next rail or,
      after the last rail, before the host reset is released.

  off-delay-ms:
    type: int
    default: 0
    description: |
      Delay on power off (and on the back-out after a failed power on),
      which walk the reverse of power-on-sequence, between taking down
      the rails listed after this one and driving this rail's enable
      inactive. For a rail the regulators taken down earlier need while
      they shut down.
```

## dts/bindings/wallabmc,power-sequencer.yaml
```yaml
# SPDX-FileCopyrightText: © 2026 Tenstorrent USA, Inc.
# SPDX-License-Identifier: Apache-2.0

description: |
  Host power sequencer.

  power-on-sequence lists wallabmc,power-rail nodes in the order they are
  brought up: each rail waits for its power-good inputs to read inactive,
  drives its enable active, waits for them to read active and then waits
  its settle-ms. Power off walks the list in reverse and drives every
  enable inactive; a rail with off-delay-ms is taken down that long after
  the rails listed after it. A failed power on is backed out the same way,
  rails that never came up included. The host reset GPIO (alias
  reset-gpio-1), if there is one, is asserted before the first rail comes
  up and released after the last.

  Example:

    power_sequencer: power-sequencer {
        compatible = "wallabmc,power-sequencer";
        power-on-sequence = <&p5v &vcore>;
    };

compatible: "wallabmc,power-sequencer"

include: base.yaml

properties:
  power-on-sequence:
    type: phandles
    required: true
    description: |
      The wallabmc,power-rail nodes in power-on order. Power off walks
      the list in reverse.
```

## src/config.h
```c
/*
 * SPDX-FileCopyrightText: © 2025-2026 Tenstorrent USA, Inc.
 * SPDX-License-Identifier: Apache-2.0
 */
#ifndef __CONFIG_H__
#define __CONFIG_H__

#include <stdbool.h>
#include <stddef.h>
#include <stdint.h>
#include <sys/types.h>

int config_init(void);
int config_clear(void);
const char *config_bmc_hostname(void);
int config_bmc_hostname_set(const char *hostname);
int config_bmc_password_set(const char *password);
bool config_bmc_use_ntp(void);
int config_bmc_use_ntp_set(bool use);
const char *config_bmc_ntp_server(void);
int config_bmc_ntp_server_set(const char *server);
uint32_t config_bmc_default_ip4(void);
int config_bmc_default_ip4_set(const char *str);
uint32_t config_bmc_default_ip4_nm(void);
int config_bmc_default_ip4_nm_set(const char *str);
uint32_t config_bmc_default_ip4_gw(void);
int config_bmc_default_ip4_gw_set(const char *str);
bool config_bmc_use_dhcp4(void);
int config_bmc_use_dhcp4_set(bool use);
bool config_host_auto_poweron(void);
int config_host_auto_poweron_set(bool on);
const char *config_bmc_admin_password(void);
bool config_bmc_https_psk(const char **psk, int *psk_len);
bool config_bmc_wifi_enable(void);
const char *config_bmc_wifi_ssid(void);
const char *config_bmc_wifi_password(void);

/* True if config is saved to persistent storage */
bool config_persistent(void);

/* Binary config items, read and written whole */
enum config_blob {
	CONFIG_BLOB_HTTPS_KEY,
	CONFIG_BLOB_HTTPS_CERT,
	CONFIG_BLOB_HTTPS_EXTRA_NAMES,
};

/*
 * Returns the item's length, or a negative error: -ENOENT if it isn't
 * stored, -EINVAL if it's larger than size, -ENODEV without persistent
 * storage.
 */
ssize_t config_blob_read(enum config_blob blob, void *buf, size_t size);
int config_blob_write(enum config_blob blob, const void *buf, size_t size);
int config_blob_delete(enum config_blob blob);
#endif
```

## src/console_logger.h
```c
/*
 * SPDX-FileCopyrightText: © 2025-2026 Tenstorrent USA, Inc.
 * SPDX-License-Identifier: Apache-2.0
 */
#ifndef __CONSOLE_LOGGER_H__
#define __CONSOLE_LOGGER_H__

#include <zephyr/kernel.h>
#include <zephyr/devicetree.h>
#include <zephyr/drivers/gpio.h>
#include <zephyr/spinlock.h>
#include <sys/types.h>

#ifdef CONFIG_APP_CONSOLE_LOGGER

#define NCONSOLE DT_NUM_INST_STATUS_OKAY(wallabmc_console)

/* Bits of struct console::events; each consumer has its own data bit */
#define CONSOLE_EVENT_DATA_TCP		BIT(0)
#define CONSOLE_EVENT_DATA_WS		BIT(1)
#define CONSOLE_EVENT_TCP_CLIENT	BIT(2)
#define CONSOLE_EVENT_WS_CLIENT		BIT(3)

/* One wallabmc,console devicetree node */
struct console {
	const char *name;
	const char *endpoint;
	uint16_t ord;		/* devicetree ordinal */
	uint16_t port;
	const struct device *uart;
	uint32_t baud;
	struct gpio_dt_spec mux;	/* .port NULL without mux-select */
	bool ready;

	/* Ring of everything received, written by the UART ISR */
	uint8_t *buf;
	size_t size;
	uint64_t received;
	struct k_spinlock rx_lock;

	/*
	 * TX is serialised by tx_mutex; tx_done is given by the ISR once
	 * the pending buffer has been pushed to the FIFO.
	 */
	struct k_mutex tx_mutex;
	struct k_sem tx_done;
	const uint8_t *tx_buf;
	size_t tx_len;
	size_t tx_pos;

	struct k_event events;
	struct k_work_delayable rx_work;
};

extern struct console consoles[NCONSOLE];

int console_logger_init(void);
ssize_t console_read(struct console *c, uint8_t *buf, size_t size, uint64_t *ppos);
void console_seek_end(struct console *c, uint64_t *ppos);
ssize_t console_write(struct console *c, const uint8_t *buf, size_t size);
#else
static inline int console_logger_init(void) { return 0; }
#endif

#endif
```

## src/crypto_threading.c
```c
/*
 * mbedTLS threading primitives on Zephyr mutexes and condition variables
 *
 * Zephyr builds mbedTLS without MBEDTLS_THREADING_C, so the PSA key store
 * and the mbedTLS heap have no locking. WallaBMC uses mbedTLS from several
 * threads, so enable it with MBEDTLS_THREADING_ALT (see
 * crypto/tf-psa-crypto-user-config.h) and provide the primitives here.
 *
 * SPDX-FileCopyrightText: © 2026 Tenstorrent USA, Inc.
 * SPDX-License-Identifier: Apache-2.0
 */

#include <zephyr/init.h>
#include <zephyr/kernel.h>
#include <mbedtls/threading.h>

#if !defined(MBEDTLS_THREADING_C) || !defined(MBEDTLS_THREADING_ALT)
#error "MBEDTLS_THREADING_C and MBEDTLS_THREADING_ALT must be enabled"
#endif

static int mutex_init(mbedtls_platform_mutex_t *mutex)
{
	return k_mutex_init(mutex) ? MBEDTLS_ERR_THREADING_USAGE_ERROR : 0;
}

static void mutex_destroy(mbedtls_platform_mutex_t *mutex)
{
	ARG_UNUSED(mutex);
}

static int mutex_lock(mbedtls_platform_mutex_t *mutex)
{
	return k_mutex_lock(mutex, K_FOREVER) ? MBEDTLS_ERR_THREADING_USAGE_ERROR : 0;
}

static int mutex_unlock(mbedtls_platform_mutex_t *mutex)
{
	return k_mutex_unlock(mutex) ? MBEDTLS_ERR_THREADING_USAGE_ERROR : 0;
}

static int cond_init(mbedtls_platform_condition_variable_t *cond)
{
	return k_condvar_init(cond) ? MBEDTLS_ERR_THREADING_USAGE_ERROR : 0;
}

static void cond_destroy(mbedtls_platform_condition_variable_t *cond)
{
	ARG_UNUSED(cond);
}

static int cond_signal(mbedtls_platform_condition_variable_t *cond)
{
	return k_condvar_signal(cond) ? MBEDTLS_ERR_THREADING_USAGE_ERROR : 0;
}

static int cond_broadcast(mbedtls_platform_condition_variable_t *cond)
{
	k_condvar_broadcast(cond);
	return 0;
}

static int cond_wait(mbedtls_platform_condition_variable_t *cond,
		     mbedtls_platform_mutex_t *mutex)
{
	return k_condvar_wait(cond, mutex, K_FOREVER) ? MBEDTLS_ERR_THREADING_USAGE_ERROR : 0;
}

static int crypto_threading_init(void)
{
	mbedtls_threading_set_alt(mutex_init, mutex_destroy, mutex_lock, mutex_unlock,
				  cond_init, cond_destroy, cond_signal, cond_broadcast,
				  cond_wait);
	return 0;
}

/*
 * Must run before Zephyr's _mbedtls_init() (POST_KERNEL,
 * CONFIG_KERNEL_INIT_PRIORITY_DEFAULT), which initialises the heap and calls
 * psa_crypto_init(), both of which create mutexes.
 */
BUILD_ASSERT(CONFIG_KERNEL_INIT_PRIORITY_DEFAULT > 0);
SYS_INIT(crypto_threading_init, POST_KERNEL, 0);
```
